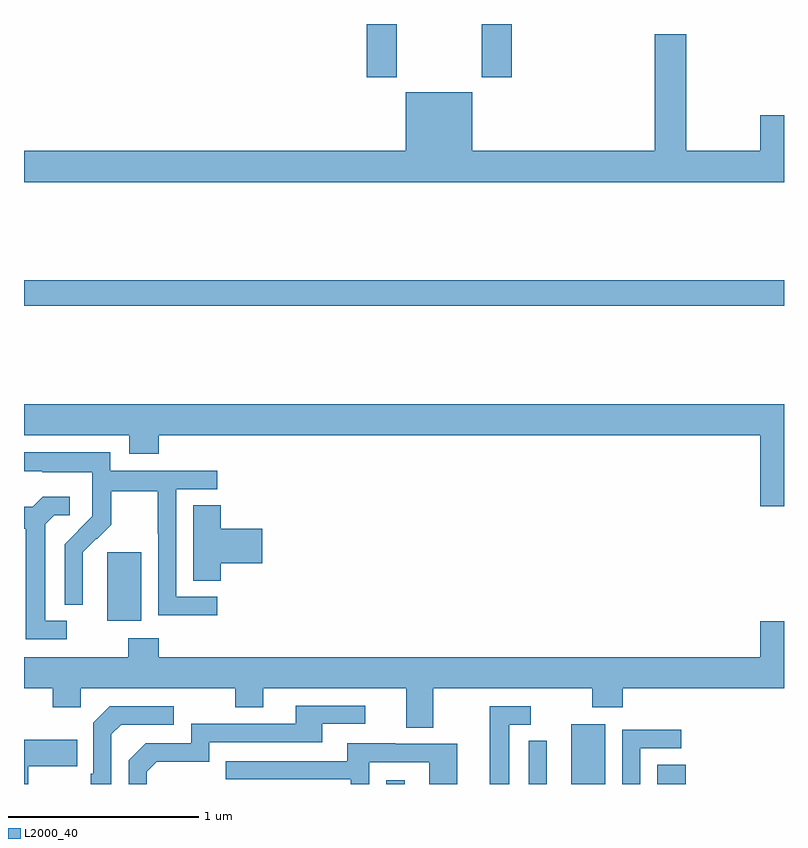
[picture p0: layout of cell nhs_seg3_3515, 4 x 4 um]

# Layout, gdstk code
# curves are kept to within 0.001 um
import gdstk
lib = gdstk.Library(unit=1e-6, precision=1e-09)
def R(c, l, rs):  # rectangles x0, y0, x1, y1
    for r in rs: c.add(gdstk.rectangle(r[:2], r[2:], *l))
def P(c, l, *ps):  # polygons
    for p in ps: c.add(gdstk.Polygon(p, *l))
L2000_40 = (2000, 40)

nhs_seg3_3515 = lib.new_cell('nhs_seg3_3515')
R(nhs_seg3_3515, L2000_40, [(294.906,712.4,295.003,712.42), (295.88,712.4,296.059,712.714), (296.333,712.4,296.483,712.502), (293.438,713.258,293.617,713.619), (293,714.916,297,715.052), (294.803,716.121,294.963,716.4), (295.408,716.121,295.568,716.4)])
P(nhs_seg3_3515, L2000_40, [(297,715.921),(296.876,715.921),(296.876,715.732),(296.485,715.732),(296.485,716.347),(296.321,716.347),(296.321,715.732),(295.36,715.732),(295.36,716.041),(295.01,716.041),(295.01,715.732),(293,715.732),(293,715.568),(297,715.568)],
  [(297,714.4),(293,714.4),(293,714.236),(293.555,714.236),(293.555,714.137),(293.708,714.137),(293.708,714.236),(296.876,714.236),(296.876,713.862),(297,713.862)],
  [(294.016,713.385),(293.802,713.385),(293.802,713.952),(294.016,713.952),(294.016,714.048),(293.454,714.048),(293.454,714.145),(293,714.145),(293,714.045),(293.095,714.045),(293.095,714.041),(293.358,714.041),(293.358,713.907),(293.36,713.907),(293.36,713.81),(293.214,713.662),(293.214,713.344),(293.31,713.344),(293.309,713.621),(293.379,713.691),(293.382,713.688),(293.459,713.765),(293.459,713.94),(293.704,713.94),(293.704,713.716),(293.706,713.716),(293.706,713.287),(294.016,713.287)],
  [(293.224,713.259),(293.113,713.259),(293.113,713.767),(293.16,713.814),(293.242,713.814),(293.242,713.911),(293.098,713.911),(293.046,713.859),(293,713.859),(293,713.744),(293.009,713.744),(293.009,713.163),(293.224,713.163)],
  [(294.035,713.561),(294.253,713.561),(294.253,713.744),(294.035,713.744),(294.035,713.867),(293.891,713.867),(293.891,713.47),(294.035,713.47)],
  [(295.153,712.904),(295.99,712.904),(295.99,712.805),(296.15,712.805),(296.15,712.904),(297,712.904),(297,713.257),(296.876,713.257),(296.876,713.068),(293.708,713.068),(293.708,713.167),(293.548,713.167),(293.548,713.068),(293,713.068),(293,712.904),(293.152,712.904),(293.152,712.805),(293.298,712.805),(293.298,712.904),(294.112,712.904),(294.112,712.805),(294.259,712.805),(294.259,712.904),(295.013,712.904),(295.013,712.696),(295.153,712.696)],
  [(293.646,712.464),(293.699,712.517),(293.976,712.517),(293.976,712.62),(294.571,712.62),(294.571,712.716),(294.796,712.716),(294.796,712.812),(294.431,712.812),(294.431,712.716),(293.88,712.716),(293.88,712.614),(293.64,712.614),(293.55,712.524),(293.55,712.4),(293.646,712.4)],
  [(295.555,712.713),(295.666,712.713),(295.666,712.809),(295.451,712.809),(295.451,712.4),(295.555,712.4)],
  [(293.46,712.662),(293.511,712.713),(293.788,712.713),(293.788,712.809),(293.451,712.809),(293.364,712.722),(293.364,712.453),(293.352,712.453),(293.352,712.4),(293.46,712.4)],
  [(296.244,712.587),(296.458,712.587),(296.458,712.686),(296.148,712.686),(296.148,712.4),(296.244,712.4)],
  [(293.023,712.493),(293.279,712.493),(293.279,712.633),(293,712.633),(293,712.4),(293.023,712.4)],
  [(295.751,712.474),(295.752,712.474),(295.752,712.628),(295.656,712.628),(295.656,712.4),(295.751,712.4)],
  [(294.816,712.515),(295.134,712.515),(295.134,712.4),(295.279,712.4),(295.279,712.611),(294.955,712.611),(294.955,712.615),(294.701,712.615),(294.701,712.521),(294.061,712.521),(294.061,712.425),(294.72,712.425),(294.72,712.4),(294.816,712.4)])

lib.write_gds('nhs_seg3_3515.gds')
